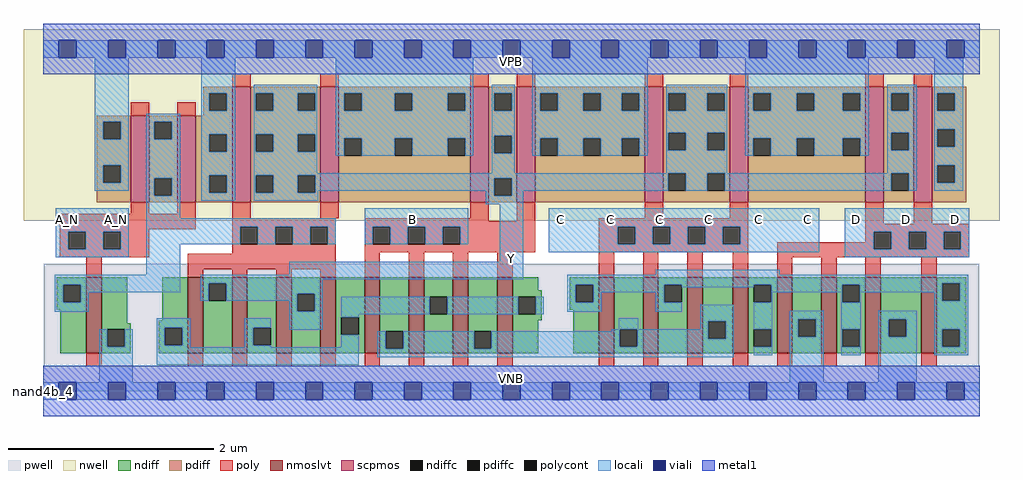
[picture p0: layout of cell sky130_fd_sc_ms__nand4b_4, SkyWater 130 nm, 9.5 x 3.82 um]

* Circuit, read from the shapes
.subckt sky130_fd_sc_ms__nand4b_4 A_N B C D VGND VNB VPB VPWR Y
XM1 VGND A_N n1 VNB sky130_fd_pr__nfet_01v8_lvt w=0.74 l=0.15
XM2 Y n1 n2 VNB sky130_fd_pr__nfet_01v8_lvt w=0.74 l=0.15 m=4
XM3 n3 B n2 VNB sky130_fd_pr__nfet_01v8_lvt w=0.74 l=0.15 m=4
XM4 n3 C n4 VNB sky130_fd_pr__nfet_01v8_lvt w=0.74 l=0.15 m=4
XM5 VGND D n4 VNB sky130_fd_pr__nfet_01v8_lvt w=0.74 l=0.15 m=4
XM6 n1 A_N VPWR VPB sky130_fd_pr__pfet_01v8 w=0.84 l=0.18 m=2
XM7 Y n1 VPWR VPB sky130_fd_pr__pfet_01v8 w=1.12 l=0.18 m=2
XM8 Y B VPWR VPB sky130_fd_pr__pfet_01v8 w=1.12 l=0.18 m=2
XM9 Y C VPWR VPB sky130_fd_pr__pfet_01v8 w=1.12 l=0.18 m=2
XM10 Y D VPWR VPB sky130_fd_pr__pfet_01v8 w=1.12 l=0.18 m=2
.ends

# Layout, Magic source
magic
tech sky130A
magscale 1 2
<< nwell >>
rect -38 332 1862 704
<< pwell >>
rect 1 49 1823 248
rect 0 0 1824 49
<< scpmos >>
rect 171 368 207 536
rect 261 368 297 536
rect 368 368 404 592
rect 540 368 576 592
rect 832 368 868 592
rect 922 368 958 592
rect 1171 368 1207 592
rect 1337 368 1373 592
rect 1601 368 1637 592
rect 1695 368 1731 592
<< nmoslvt >>
rect 84 74 114 222
rect 282 74 312 222
rect 368 74 398 222
rect 454 74 484 222
rect 540 74 570 222
rect 626 74 656 222
rect 712 74 742 222
rect 798 74 828 222
rect 884 74 914 222
rect 1082 74 1112 222
rect 1168 74 1198 222
rect 1254 74 1284 222
rect 1343 74 1373 222
rect 1429 74 1459 222
rect 1515 74 1545 222
rect 1601 74 1631 222
rect 1710 74 1740 222
<< ndiff >>
rect 27 207 84 222
rect 27 173 39 207
rect 73 173 84 207
rect 27 158 84 173
rect 34 74 84 158
rect 114 132 164 222
rect 232 138 282 222
rect 114 120 171 132
rect 114 86 125 120
rect 159 86 171 120
rect 114 74 171 86
rect 225 123 282 138
rect 225 89 237 123
rect 271 89 282 123
rect 225 74 282 89
rect 312 210 368 222
rect 312 176 323 210
rect 357 176 368 210
rect 312 74 368 176
rect 398 123 454 222
rect 398 89 409 123
rect 443 89 454 123
rect 398 74 454 89
rect 484 189 540 222
rect 484 155 495 189
rect 529 155 540 189
rect 484 74 540 155
rect 570 144 626 222
rect 570 110 581 144
rect 615 110 626 144
rect 570 74 626 110
rect 656 116 712 222
rect 656 82 667 116
rect 701 82 712 116
rect 656 74 712 82
rect 742 184 798 222
rect 742 150 753 184
rect 787 150 798 184
rect 742 74 798 150
rect 828 116 884 222
rect 828 82 839 116
rect 873 82 884 116
rect 828 74 884 82
rect 914 196 964 222
rect 1025 207 1082 222
rect 914 184 971 196
rect 914 150 925 184
rect 959 150 971 184
rect 1025 173 1037 207
rect 1071 173 1082 207
rect 1025 158 1082 173
rect 914 138 971 150
rect 914 74 964 138
rect 1032 74 1082 158
rect 1112 120 1168 222
rect 1112 86 1123 120
rect 1157 86 1168 120
rect 1112 74 1168 86
rect 1198 207 1254 222
rect 1198 173 1209 207
rect 1243 173 1254 207
rect 1198 74 1254 173
rect 1284 136 1343 222
rect 1284 102 1295 136
rect 1329 102 1343 136
rect 1284 74 1343 102
rect 1373 207 1429 222
rect 1373 173 1384 207
rect 1418 173 1429 207
rect 1373 120 1429 173
rect 1373 86 1384 120
rect 1418 86 1429 120
rect 1373 74 1429 86
rect 1459 140 1515 222
rect 1459 106 1470 140
rect 1504 106 1515 140
rect 1459 74 1515 106
rect 1545 207 1601 222
rect 1545 173 1556 207
rect 1590 173 1601 207
rect 1545 120 1601 173
rect 1545 86 1556 120
rect 1590 86 1601 120
rect 1545 74 1601 86
rect 1631 140 1710 222
rect 1631 106 1646 140
rect 1680 106 1710 140
rect 1631 74 1710 106
rect 1740 210 1797 222
rect 1740 176 1751 210
rect 1785 176 1797 210
rect 1740 120 1797 176
rect 1740 86 1751 120
rect 1785 86 1797 120
rect 1740 74 1797 86
<< pdiff >>
rect 312 580 368 592
rect 312 546 324 580
rect 358 546 368 580
rect 312 536 368 546
rect 105 524 171 536
rect 105 490 117 524
rect 151 490 171 524
rect 105 440 171 490
rect 105 406 117 440
rect 151 406 171 440
rect 105 368 171 406
rect 207 524 261 536
rect 207 490 217 524
rect 251 490 261 524
rect 207 414 261 490
rect 207 380 217 414
rect 251 380 261 414
rect 207 368 261 380
rect 297 500 368 536
rect 297 466 324 500
rect 358 466 368 500
rect 297 420 368 466
rect 297 386 324 420
rect 358 386 368 420
rect 297 368 368 386
rect 404 580 540 592
rect 404 546 414 580
rect 448 546 496 580
rect 530 546 540 580
rect 404 500 540 546
rect 404 466 414 500
rect 448 466 496 500
rect 530 466 540 500
rect 404 420 540 466
rect 404 386 414 420
rect 448 386 496 420
rect 530 386 540 420
rect 404 368 540 386
rect 576 580 832 592
rect 576 546 586 580
rect 620 546 685 580
rect 719 546 788 580
rect 822 546 832 580
rect 576 492 832 546
rect 576 458 586 492
rect 620 458 685 492
rect 719 458 788 492
rect 822 458 832 492
rect 576 368 832 458
rect 868 580 922 592
rect 868 546 878 580
rect 912 546 922 580
rect 868 497 922 546
rect 868 463 878 497
rect 912 463 922 497
rect 868 414 922 463
rect 868 380 878 414
rect 912 380 922 414
rect 868 368 922 380
rect 958 580 1171 592
rect 958 546 968 580
rect 1002 546 1052 580
rect 1086 546 1127 580
rect 1161 546 1171 580
rect 958 492 1171 546
rect 958 458 968 492
rect 1002 458 1052 492
rect 1086 458 1127 492
rect 1161 458 1171 492
rect 958 368 1171 458
rect 1207 580 1337 592
rect 1207 546 1217 580
rect 1251 546 1293 580
rect 1327 546 1337 580
rect 1207 503 1337 546
rect 1207 469 1217 503
rect 1251 469 1293 503
rect 1327 469 1337 503
rect 1207 424 1337 469
rect 1207 390 1217 424
rect 1251 390 1293 424
rect 1327 390 1337 424
rect 1207 368 1337 390
rect 1373 580 1601 592
rect 1373 546 1383 580
rect 1417 546 1467 580
rect 1501 546 1557 580
rect 1591 546 1601 580
rect 1373 492 1601 546
rect 1373 458 1383 492
rect 1417 458 1467 492
rect 1501 458 1557 492
rect 1591 458 1601 492
rect 1373 368 1601 458
rect 1637 580 1695 592
rect 1637 546 1651 580
rect 1685 546 1695 580
rect 1637 503 1695 546
rect 1637 469 1651 503
rect 1685 469 1695 503
rect 1637 424 1695 469
rect 1637 390 1651 424
rect 1685 390 1695 424
rect 1637 368 1695 390
rect 1731 580 1797 592
rect 1731 546 1741 580
rect 1775 546 1797 580
rect 1731 510 1797 546
rect 1731 476 1741 510
rect 1775 476 1797 510
rect 1731 440 1797 476
rect 1731 406 1741 440
rect 1775 406 1797 440
rect 1731 368 1797 406
<< ndiffc >>
rect 39 173 73 207
rect 125 86 159 120
rect 237 89 271 123
rect 323 176 357 210
rect 409 89 443 123
rect 495 155 529 189
rect 581 110 615 144
rect 667 82 701 116
rect 753 150 787 184
rect 839 82 873 116
rect 925 150 959 184
rect 1037 173 1071 207
rect 1123 86 1157 120
rect 1209 173 1243 207
rect 1295 102 1329 136
rect 1384 173 1418 207
rect 1384 86 1418 120
rect 1470 106 1504 140
rect 1556 173 1590 207
rect 1556 86 1590 120
rect 1646 106 1680 140
rect 1751 176 1785 210
rect 1751 86 1785 120
<< pdiffc >>
rect 324 546 358 580
rect 117 490 151 524
rect 117 406 151 440
rect 217 490 251 524
rect 217 380 251 414
rect 324 466 358 500
rect 324 386 358 420
rect 414 546 448 580
rect 496 546 530 580
rect 414 466 448 500
rect 496 466 530 500
rect 414 386 448 420
rect 496 386 530 420
rect 586 546 620 580
rect 685 546 719 580
rect 788 546 822 580
rect 586 458 620 492
rect 685 458 719 492
rect 788 458 822 492
rect 878 546 912 580
rect 878 463 912 497
rect 878 380 912 414
rect 968 546 1002 580
rect 1052 546 1086 580
rect 1127 546 1161 580
rect 968 458 1002 492
rect 1052 458 1086 492
rect 1127 458 1161 492
rect 1217 546 1251 580
rect 1293 546 1327 580
rect 1217 469 1251 503
rect 1293 469 1327 503
rect 1217 390 1251 424
rect 1293 390 1327 424
rect 1383 546 1417 580
rect 1467 546 1501 580
rect 1557 546 1591 580
rect 1383 458 1417 492
rect 1467 458 1501 492
rect 1557 458 1591 492
rect 1651 546 1685 580
rect 1651 469 1685 503
rect 1651 390 1685 424
rect 1741 546 1775 580
rect 1741 476 1775 510
rect 1741 406 1775 440
<< poly >>
rect 368 592 404 618
rect 540 592 576 618
rect 832 592 868 618
rect 922 592 958 618
rect 1171 592 1207 618
rect 1337 592 1373 618
rect 1601 592 1637 618
rect 1695 592 1731 618
rect 171 536 207 562
rect 261 536 297 562
rect 171 345 207 368
rect 261 345 297 368
rect 33 315 297 345
rect 368 336 404 368
rect 540 336 576 368
rect 832 336 868 368
rect 368 320 570 336
rect 33 310 207 315
rect 33 276 49 310
rect 83 276 117 310
rect 151 276 207 310
rect 33 260 207 276
rect 368 286 384 320
rect 418 286 452 320
rect 486 286 520 320
rect 554 286 570 320
rect 368 267 570 286
rect 84 222 114 260
rect 282 237 570 267
rect 282 222 312 237
rect 368 222 398 237
rect 454 222 484 237
rect 540 222 570 237
rect 626 331 868 336
rect 922 331 958 368
rect 1171 336 1207 368
rect 1337 336 1373 368
rect 626 320 958 331
rect 626 286 642 320
rect 676 286 710 320
rect 744 286 778 320
rect 812 286 958 320
rect 626 270 958 286
rect 1082 320 1373 336
rect 1082 286 1119 320
rect 1153 286 1187 320
rect 1221 286 1255 320
rect 1289 286 1323 320
rect 1357 286 1373 320
rect 1601 326 1637 368
rect 1695 326 1731 368
rect 1601 310 1803 326
rect 1601 290 1617 310
rect 1082 270 1373 286
rect 626 222 656 270
rect 712 222 742 270
rect 798 222 828 270
rect 884 222 914 270
rect 1082 222 1112 270
rect 1168 222 1198 270
rect 1254 222 1284 270
rect 1343 222 1373 270
rect 1429 276 1617 290
rect 1651 276 1685 310
rect 1719 276 1753 310
rect 1787 276 1803 310
rect 1429 260 1803 276
rect 1429 222 1459 260
rect 1515 222 1545 260
rect 1601 222 1631 260
rect 1710 222 1740 260
rect 84 48 114 74
rect 282 48 312 74
rect 368 48 398 74
rect 454 48 484 74
rect 540 48 570 74
rect 626 48 656 74
rect 712 48 742 74
rect 798 48 828 74
rect 884 48 914 74
rect 1082 48 1112 74
rect 1168 48 1198 74
rect 1254 48 1284 74
rect 1343 48 1373 74
rect 1429 48 1459 74
rect 1515 48 1545 74
rect 1601 48 1631 74
rect 1710 48 1740 74
<< polycont >>
rect 49 276 83 310
rect 117 276 151 310
rect 384 286 418 320
rect 452 286 486 320
rect 520 286 554 320
rect 642 286 676 320
rect 710 286 744 320
rect 778 286 812 320
rect 1119 286 1153 320
rect 1187 286 1221 320
rect 1255 286 1289 320
rect 1323 286 1357 320
rect 1617 276 1651 310
rect 1685 276 1719 310
rect 1753 276 1787 310
<< locali >>
rect 0 649 31 683
rect 65 649 127 683
rect 161 649 223 683
rect 257 649 319 683
rect 353 649 415 683
rect 449 649 511 683
rect 545 649 607 683
rect 641 649 703 683
rect 737 649 799 683
rect 833 649 895 683
rect 929 649 991 683
rect 1025 649 1087 683
rect 1121 649 1183 683
rect 1217 649 1279 683
rect 1313 649 1375 683
rect 1409 649 1471 683
rect 1505 649 1567 683
rect 1601 649 1663 683
rect 1697 649 1759 683
rect 1793 649 1824 683
rect 101 524 167 649
rect 308 580 374 649
rect 308 546 324 580
rect 358 546 374 580
rect 101 490 117 524
rect 151 490 167 524
rect 101 440 167 490
rect 101 406 117 440
rect 151 406 167 440
rect 101 390 167 406
rect 201 524 267 540
rect 201 490 217 524
rect 251 490 267 524
rect 201 414 267 490
rect 201 380 217 414
rect 251 380 267 414
rect 25 310 167 356
rect 25 276 49 310
rect 83 276 117 310
rect 151 276 167 310
rect 25 260 167 276
rect 201 336 267 380
rect 308 500 374 546
rect 308 466 324 500
rect 358 466 374 500
rect 308 420 374 466
rect 308 386 324 420
rect 358 386 374 420
rect 308 370 374 386
rect 410 580 534 596
rect 410 546 414 580
rect 448 546 496 580
rect 530 546 534 580
rect 410 500 534 546
rect 410 466 414 500
rect 448 466 496 500
rect 530 466 534 500
rect 410 424 534 466
rect 570 580 838 649
rect 570 546 586 580
rect 620 546 685 580
rect 719 546 788 580
rect 822 546 838 580
rect 570 492 838 546
rect 570 458 586 492
rect 620 458 685 492
rect 719 458 788 492
rect 822 458 838 492
rect 874 580 918 596
rect 874 546 878 580
rect 912 546 918 580
rect 874 497 918 546
rect 874 463 878 497
rect 912 463 918 497
rect 874 424 918 463
rect 952 580 1177 649
rect 952 546 968 580
rect 1002 546 1052 580
rect 1086 546 1127 580
rect 1161 546 1177 580
rect 952 492 1177 546
rect 952 458 968 492
rect 1002 458 1052 492
rect 1086 458 1127 492
rect 1161 458 1177 492
rect 1213 580 1332 596
rect 1213 546 1217 580
rect 1251 546 1293 580
rect 1327 546 1332 580
rect 1213 503 1332 546
rect 1213 469 1217 503
rect 1251 469 1293 503
rect 1327 469 1332 503
rect 1213 424 1332 469
rect 1367 580 1607 649
rect 1367 546 1383 580
rect 1417 546 1467 580
rect 1501 546 1557 580
rect 1591 546 1607 580
rect 1367 492 1607 546
rect 1367 458 1383 492
rect 1417 458 1467 492
rect 1501 458 1557 492
rect 1591 458 1607 492
rect 1643 580 1701 596
rect 1643 546 1651 580
rect 1685 546 1701 580
rect 1643 503 1701 546
rect 1643 469 1651 503
rect 1685 469 1701 503
rect 1643 424 1701 469
rect 410 420 1217 424
rect 410 386 414 420
rect 448 386 496 420
rect 530 414 1217 420
rect 530 390 878 414
rect 530 386 536 390
rect 410 370 536 386
rect 862 380 878 390
rect 912 390 1217 414
rect 1251 390 1293 424
rect 1327 390 1651 424
rect 1685 390 1701 424
rect 1735 580 1791 649
rect 1735 546 1741 580
rect 1775 546 1791 580
rect 1735 510 1791 546
rect 1735 476 1741 510
rect 1775 476 1791 510
rect 1735 440 1791 476
rect 1735 406 1741 440
rect 1775 406 1791 440
rect 1735 390 1791 406
rect 912 380 935 390
rect 862 364 935 380
rect 201 320 570 336
rect 201 286 384 320
rect 418 286 452 320
rect 486 286 520 320
rect 554 286 570 320
rect 626 320 828 356
rect 626 286 642 320
rect 676 286 710 320
rect 744 286 778 320
rect 812 286 828 320
rect 201 226 267 286
rect 889 252 935 364
rect 985 320 1511 356
rect 985 286 1119 320
rect 1153 286 1187 320
rect 1221 286 1255 320
rect 1289 286 1323 320
rect 1357 286 1511 320
rect 985 270 1511 286
rect 1561 310 1803 356
rect 1561 276 1617 310
rect 1651 276 1685 310
rect 1719 276 1753 310
rect 1787 276 1803 310
rect 1561 260 1803 276
rect 479 226 935 252
rect 1193 226 1434 236
rect 23 207 267 226
rect 23 173 39 207
rect 73 192 267 207
rect 307 218 935 226
rect 307 210 545 218
rect 73 173 89 192
rect 307 176 323 210
rect 357 189 545 210
rect 357 176 495 189
rect 23 154 89 173
rect 479 155 495 176
rect 529 155 545 189
rect 1021 210 1801 226
rect 1021 207 1751 210
rect 221 123 287 142
rect 109 86 125 120
rect 159 86 175 120
rect 109 17 175 86
rect 221 89 237 123
rect 271 89 287 123
rect 221 85 287 89
rect 393 123 443 142
rect 393 89 409 123
rect 479 119 545 155
rect 581 150 753 184
rect 787 150 925 184
rect 959 150 975 184
rect 1021 173 1037 207
rect 1071 192 1209 207
rect 1071 173 1087 192
rect 1021 154 1087 173
rect 1193 173 1209 192
rect 1243 202 1384 207
rect 1193 154 1243 173
rect 1418 192 1556 207
rect 1418 173 1420 192
rect 581 144 615 150
rect 393 85 443 89
rect 1121 120 1159 142
rect 1279 136 1345 168
rect 1279 120 1295 136
rect 1107 116 1123 120
rect 581 85 615 110
rect 221 51 615 85
rect 651 82 667 116
rect 701 82 839 116
rect 873 86 1123 116
rect 1157 102 1295 120
rect 1329 102 1345 136
rect 1157 86 1345 102
rect 873 82 1345 86
rect 651 66 1345 82
rect 1384 120 1420 173
rect 1554 173 1556 192
rect 1590 192 1751 207
rect 1590 173 1592 192
rect 1418 86 1420 120
rect 1384 70 1420 86
rect 1454 140 1520 156
rect 1454 106 1470 140
rect 1504 106 1520 140
rect 1454 17 1520 106
rect 1554 120 1592 173
rect 1735 176 1751 192
rect 1785 176 1801 210
rect 1554 86 1556 120
rect 1590 86 1592 120
rect 1554 70 1592 86
rect 1626 140 1701 156
rect 1626 106 1646 140
rect 1680 106 1701 140
rect 1626 17 1701 106
rect 1735 120 1801 176
rect 1735 86 1751 120
rect 1785 86 1801 120
rect 1735 70 1801 86
rect 0 -17 31 17
rect 65 -17 127 17
rect 161 -17 223 17
rect 257 -17 319 17
rect 353 -17 415 17
rect 449 -17 511 17
rect 545 -17 607 17
rect 641 -17 703 17
rect 737 -17 799 17
rect 833 -17 895 17
rect 929 -17 991 17
rect 1025 -17 1087 17
rect 1121 -17 1183 17
rect 1217 -17 1279 17
rect 1313 -17 1375 17
rect 1409 -17 1471 17
rect 1505 -17 1567 17
rect 1601 -17 1663 17
rect 1697 -17 1759 17
rect 1793 -17 1824 17
<< viali >>
rect 31 649 65 683
rect 127 649 161 683
rect 223 649 257 683
rect 319 649 353 683
rect 415 649 449 683
rect 511 649 545 683
rect 607 649 641 683
rect 703 649 737 683
rect 799 649 833 683
rect 895 649 929 683
rect 991 649 1025 683
rect 1087 649 1121 683
rect 1183 649 1217 683
rect 1279 649 1313 683
rect 1375 649 1409 683
rect 1471 649 1505 683
rect 1567 649 1601 683
rect 1663 649 1697 683
rect 1759 649 1793 683
rect 31 -17 65 17
rect 127 -17 161 17
rect 223 -17 257 17
rect 319 -17 353 17
rect 415 -17 449 17
rect 511 -17 545 17
rect 607 -17 641 17
rect 703 -17 737 17
rect 799 -17 833 17
rect 895 -17 929 17
rect 991 -17 1025 17
rect 1087 -17 1121 17
rect 1183 -17 1217 17
rect 1279 -17 1313 17
rect 1375 -17 1409 17
rect 1471 -17 1505 17
rect 1567 -17 1601 17
rect 1663 -17 1697 17
rect 1759 -17 1793 17
<< metal1 >>
rect 0 683 1824 715
rect 0 649 31 683
rect 65 649 127 683
rect 161 649 223 683
rect 257 649 319 683
rect 353 649 415 683
rect 449 649 511 683
rect 545 649 607 683
rect 641 649 703 683
rect 737 649 799 683
rect 833 649 895 683
rect 929 649 991 683
rect 1025 649 1087 683
rect 1121 649 1183 683
rect 1217 649 1279 683
rect 1313 649 1375 683
rect 1409 649 1471 683
rect 1505 649 1567 683
rect 1601 649 1663 683
rect 1697 649 1759 683
rect 1793 649 1824 683
rect 0 617 1824 649
rect 0 17 1824 49
rect 0 -17 31 17
rect 65 -17 127 17
rect 161 -17 223 17
rect 257 -17 319 17
rect 353 -17 415 17
rect 449 -17 511 17
rect 545 -17 607 17
rect 641 -17 703 17
rect 737 -17 799 17
rect 833 -17 895 17
rect 929 -17 991 17
rect 1025 -17 1087 17
rect 1121 -17 1183 17
rect 1217 -17 1279 17
rect 1313 -17 1375 17
rect 1409 -17 1471 17
rect 1505 -17 1567 17
rect 1601 -17 1663 17
rect 1697 -17 1759 17
rect 1793 -17 1824 17
rect 0 -49 1824 -17
<< labels >>
flabel pwell s 0 0 1824 49 0 FreeSans 200 0 0 0 VNB
port 6 nsew ground bidirectional
flabel nwell s 0 617 1824 666 0 FreeSans 200 0 0 0 VPB
port 7 nsew power bidirectional
rlabel comment s 0 0 0 0 4 nand4b_4
flabel metal1 s 0 617 1824 666 0 FreeSans 340 0 0 0 VPWR
port 8 nsew power bidirectional
flabel metal1 s 0 0 1824 49 0 FreeSans 340 0 0 0 VGND
port 5 nsew ground bidirectional
flabel locali s 31 316 65 350 0 FreeSans 340 0 0 0 A_N
port 1 nsew signal input
flabel locali s 127 316 161 350 0 FreeSans 340 0 0 0 A_N
port 1 nsew signal input
flabel locali s 991 316 1025 350 0 FreeSans 340 0 0 0 C
port 3 nsew signal input
flabel locali s 1087 316 1121 350 0 FreeSans 340 0 0 0 C
port 3 nsew signal input
flabel locali s 1183 316 1217 350 0 FreeSans 340 0 0 0 C
port 3 nsew signal input
flabel locali s 1279 316 1313 350 0 FreeSans 340 0 0 0 C
port 3 nsew signal input
flabel locali s 1375 316 1409 350 0 FreeSans 340 0 0 0 C
port 3 nsew signal input
flabel locali s 1471 316 1505 350 0 FreeSans 340 0 0 0 C
port 3 nsew signal input
flabel locali s 703 316 737 350 0 FreeSans 340 0 0 0 B
port 2 nsew signal input
flabel locali s 895 242 929 276 0 FreeSans 340 0 0 0 Y
port 9 nsew signal output
flabel locali s 1567 316 1601 350 0 FreeSans 340 0 0 0 D
port 4 nsew signal input
flabel locali s 1663 316 1697 350 0 FreeSans 340 0 0 0 D
port 4 nsew signal input
flabel locali s 1759 316 1793 350 0 FreeSans 340 0 0 0 D
port 4 nsew signal input
<< properties >>
string LEFsite unit
string LEFclass CORE
string FIXED_BBOX 0 0 1824 666
string GDS_FILE $PDKPATH/libs.ref/sky130_fd_sc_ms/gds/sky130_fd_sc_ms.gds
string LEFsymmetry X Y
string GDS_END 770550
string GDS_START 756846
<< end >>
